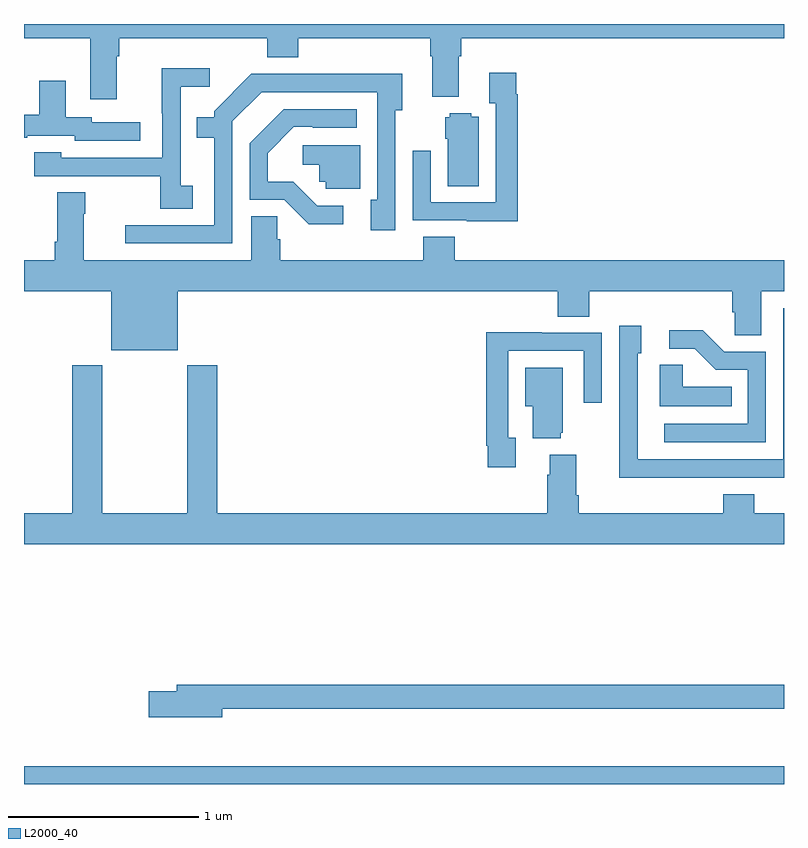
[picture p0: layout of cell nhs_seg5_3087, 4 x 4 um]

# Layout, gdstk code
import gdstk
lib = gdstk.Library(unit=1e-6, precision=1e-09)
def R(c, l, rs):  # rectangles x0, y0, x1, y1
    for r in rs: c.add(gdstk.rectangle(r[:2], r[2:], *l))
def P(c, l, *ps):  # polygons
    for p in ps: c.add(gdstk.Polygon(p, *l))
L2000_40 = (2000, 40)

nhs_seg5_3087 = lib.new_cell('nhs_seg5_3087')
R(nhs_seg5_3087, L2000_40, [(289,888.799,293,888.892)])
P(nhs_seg5_3087, L2000_40, [(289.489,892.628),(289.502,892.628),(289.502,892.724),(290.279,892.724),(290.279,892.625),(290.444,892.625),(290.444,892.724),(291.137,892.724),(291.137,892.628),(291.149,892.628),(291.149,892.415),(291.289,892.415),(291.289,892.628),(291.302,892.628),(291.302,892.724),(293,892.724),(293,892.799),(289,892.799),(289,892.724),(289.349,892.724),(289.349,892.404),(289.489,892.404)],
  [(289.888,891.948),(289.824,891.948),(289.824,892.469),(289.978,892.469),(289.978,892.567),(289.726,892.567),(289.726,892.328),(289.728,892.328),(289.728,892.095),(289.197,892.095),(289.197,892.123),(289.053,892.123),(289.053,891.999),(289.411,891.999),(289.411,891.997),(289.716,891.997),(289.716,891.826),(289.888,891.826)],
  [(291.599,892.43),(291.592,892.43),(291.592,892.543),(291.449,892.543),(291.449,892.382),(291.483,892.382),(291.483,891.861),(291.141,891.861),(291.141,892.132),(291.045,892.132),(291.045,891.765),(291.329,891.765),(291.329,891.761),(291.599,891.761)],
  [(290.097,892.287),(290.25,892.44),(290.859,892.44),(290.859,891.874),(290.825,891.874),(290.825,891.714),(290.955,891.714),(290.955,892.346),(290.992,892.346),(290.992,892.538),(290.527,892.538),(290.527,892.536),(290.196,892.536),(290.001,892.341),(290.001,892.309),(289.909,892.309),(289.909,892.2),(290,892.2),(290,891.741),(289.533,891.741),(289.533,891.645),(290.097,891.645)],
  [(289.612,892.281),(289.356,892.281),(289.356,892.308),(289.219,892.308),(289.219,892.501),(289.079,892.501),(289.079,892.321),(289,892.321),(289,892.2),(289.018,892.2),(289.018,892.212),(289.266,892.212),(289.266,892.185),(289.612,892.185)],
  [(290.68,891.843),(290.544,891.843),(290.417,891.97),(290.284,891.97),(290.284,892.12),(290.421,892.257),(290.521,892.257),(290.521,892.254),(290.752,892.254),(290.752,892.35),(290.366,892.35),(290.187,892.171),(290.187,891.873),(290.37,891.873),(290.498,891.746),(290.68,891.746)],
  [(291.394,892.312),(291.354,892.312),(291.354,892.33),(291.24,892.33),(291.24,892.308),(291.218,892.308),(291.218,892.194),(291.23,892.194),(291.23,891.946),(291.394,891.946)],
  [(290.77,892.161),(290.466,892.161),(290.466,892.058),(290.553,892.058),(290.553,891.969),(290.589,891.969),(290.589,891.933),(290.77,891.933)],
  [(289.81,891.392),(291.809,891.392),(291.809,891.259),(291.974,891.259),(291.974,891.392),(292.727,891.392),(292.727,891.283),(292.74,891.283),(292.74,891.16),(292.879,891.16),(292.879,891.392),(293,891.392),(293,891.556),(291.266,891.556),(291.266,891.68),(291.101,891.68),(291.101,891.556),(290.348,891.556),(290.348,891.666),(290.333,891.666),(290.333,891.788),(290.195,891.788),(290.195,891.556),(289.315,891.556),(289.315,891.8),(289.323,891.8),(289.323,891.913),(289.175,891.913),(289.175,891.652),(289.163,891.652),(289.163,891.556),(289,891.556),(289,891.392),(289.46,891.392),(289.46,891.083),(289.81,891.083)],
  [(292.595,890.412),(293,890.412),(293,891.303),(292.995,891.303),(292.995,890.508),(292.23,890.508),(292.23,891.066),(292.249,891.066),(292.249,891.211),(292.134,891.211),(292.134,890.717),(292.132,890.717),(292.132,890.411),(292.595,890.411)],
  [(292.905,891.075),(292.686,891.075),(292.573,891.188),(292.395,891.188),(292.395,891.09),(292.529,891.09),(292.64,890.979),(292.809,890.979),(292.809,890.694),(292.371,890.694),(292.371,890.598),(292.905,890.598)],
  [(291.589,890.622),(291.549,890.622),(291.549,891.078),(291.945,891.078),(291.945,890.805),(292.041,890.805),(292.041,891.174),(291.725,891.174),(291.725,891.176),(291.433,891.176),(291.433,890.578),(291.441,890.578),(291.441,890.466),(291.589,890.466)],
  [(292.724,890.89),(292.467,890.89),(292.467,891.005),(292.346,891.005),(292.346,890.786),(292.724,890.786)],
  [(293,890.224),(292.844,890.224),(292.844,890.323),(292.679,890.323),(292.679,890.224),(291.92,890.224),(291.92,890.32),(291.907,890.32),(291.907,890.533),(291.767,890.533),(291.767,890.426),(291.755,890.426),(291.755,890.224),(290.018,890.224),(290.018,891.004),(289.858,891.004),(289.858,890.224),(289.413,890.224),(289.413,891.004),(289.253,891.004),(289.253,890.224),(289,890.224),(289,890.06),(293,890.06)],
  [(291.824,890.649),(291.835,890.649),(291.835,890.989),(291.638,890.989),(291.638,890.786),(291.677,890.786),(291.677,890.618),(291.824,890.618)],
  [(290.044,889.194),(293,889.194),(293,889.322),(289.805,889.322),(289.805,889.286),(289.656,889.286),(289.656,889.151),(290.044,889.151)])

lib.write_gds('nhs_seg5_3087.gds')
